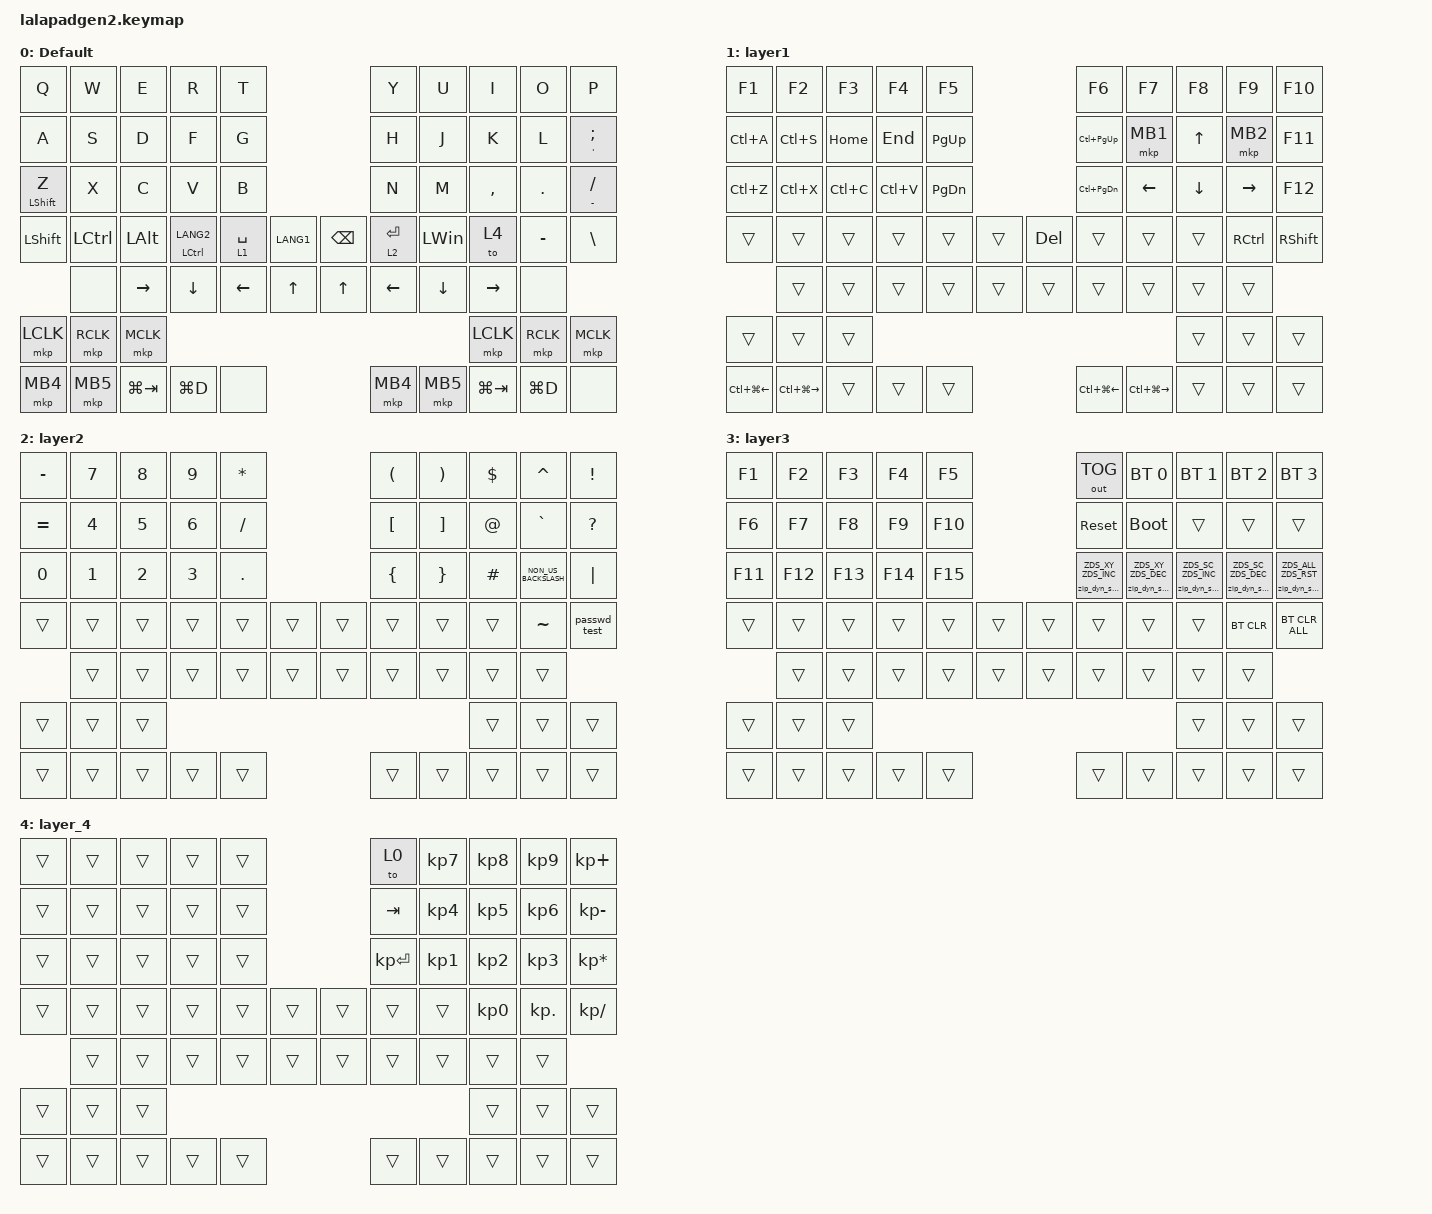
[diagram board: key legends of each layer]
#include <input/processors.dtsi>
#include <dt-bindings/zmk/zip_dynamic_scale.h>
#include <behaviors.dtsi>
#include <dt-bindings/zmk/bt.h>
#include <dt-bindings/zmk/keys.h>
#include <dt-bindings/zmk/outputs.h>
#include <dt-bindings/zmk/pointing.h>

#define DEFAULT_LAYER   0
#define SECONDARY_LAYER 1
#define TERTIARY_LAYER  2
#define SYSTEM_LAYER    3

&mt { quick-tap-ms = <200>; };

&lt { quick-tap-ms = <200>; };

/ {
    behaviors {
        zip_dyn_scale: zip_dyn_scale {
            compatible = "zmk,behavior-zip-dynamic-scale";
            #binding-cells = <2>;
        };

        zip_dyn_scale_set: zip_dyn_scale_set {
            compatible = "zmk,behavior-zip-dynamic-scale-set";
            #binding-cells = <2>;
        };

        mt2: mod_tap2 {
            compatible = "zmk,behavior-hold-tap";
            #binding-cells = <2>;
            flavor = "tap-preferred";
            tapping-term-ms = <200>;
            quick-tap-ms = <200>;
            require-prior-idle-ms = <125>;
            bindings = <&kp>, <&kp>;
        };

        tap_dance_layer_1and2: tap_dance_layer_1and2 {
            compatible = "zmk,behavior-tap-dance";
            label = "td_mo12";
            #binding-cells = <0>;
            bindings = <&mo 1>, <&mo 2>;
        };

        left_side: left_side {
            compatible = "zmk,behavior-tap-dance";
            label = "LEFT_SIDE";
            #binding-cells = <0>;
            bindings =
                <&kp LEFT_PARENTHESIS>,
                <&kp LEFT_BRACKET>,
                <&kp LEFT_BRACE>;
        };

        right_side: right_side {
            compatible = "zmk,behavior-tap-dance";
            label = "RIGHT_SIDE";
            #binding-cells = <0>;
            bindings =
                <&kp RIGHT_PARENTHESIS>,
                <&kp RIGHT_BRACKET>,
                <&kp RIGHT_BRACE>;
        };
    };

    combos {
        compatible = "zmk,combos";

        COMBO_ESC {
            bindings = <&kp ESCAPE>;
            key-positions = <0 1>;
        };

        COMBO_TAB {
            bindings = <&kp TAB>;
            key-positions = <10 11>;
        };

        COMBO_QUOTE {
            bindings = <&kp SQT>;
            key-positions = <18 19>;
        };

        COMBO_MINUS {
            bindings = <&kp MINUS>;
            key-positions = <28 29>;
        };

        COMBO_DEL {
            bindings = <&kp DELETE>;
            key-positions = <8 9>;
        };
    };

    macros {
        passwd_test: new_macro {
            compatible = "zmk,behavior-macro";
            #binding-cells = <0>;
            bindings = <&kp LS(A) &kp A &kp NUMBER_1 &kp NUMBER_1 &kp NUMBER_1 &kp NUMBER_1 &kp NUMBER_1 &kp NUMBER_1>;
            label = "NEW_MACRO";
        };
    };

    keymap {
        compatible = "zmk,keymap";

        DEFAULT_LAYER {
            display-name = "Default";
            bindings = <
&kp Q              &kp W      &kp E         &kp R            &kp T                                  &kp Y        &kp U         &kp I        &kp O       &kp P
&kp A              &kp S      &kp D         &kp F            &kp G                                  &kp H        &kp J         &kp K        &kp L       &mt2 SINGLE_QUOTE SEMICOLON
&mt2 LEFT_SHIFT Z  &kp X      &kp C         &kp V            &kp B                                  &kp N        &kp M         &kp COMMA    &kp PERIOD  &mt2 MINUS SLASH
&kp LEFT_SHIFT     &kp LCTRL  &kp LEFT_ALT  &mt LCTRL LANG2  &lt 1 SPACE  &kp LANG1  &kp BACKSPACE  &lt 2 ENTER  &kp LEFT_WIN  &to 4        &kp MINUS   &kp BACKSLASH
                   &none      &kp RIGHT     &kp DOWN         &kp LEFT     &kp UP     &kp UP         &kp LEFT     &kp DOWN      &kp RIGHT    &none
&mkp LCLK          &mkp RCLK  &mkp MCLK                                                                                        &mkp LCLK    &mkp RCLK   &mkp MCLK
&mkp MB4           &mkp MB5   &kp LG(TAB)   &kp LG(D)        &none                                  &mkp MB4     &mkp MB5      &kp LG(TAB)  &kp LG(D)   &none
            >;
        };

        LAYER1 {
            display-name = "layer1";
            bindings = <
&kp F1            &kp F2             &kp F3     &kp F4     &kp F5                          &kp F6             &kp F7             &kp F8          &kp F9           &kp F10
&kp LC(A)         &kp LC(S)          &kp HOME   &kp END    &kp PAGE_UP                     &kp LC(PAGE_UP)    &mkp MB1           &kp UP_ARROW    &mkp MB2         &kp F11
&kp LC(Z)         &kp LC(X)          &kp LC(C)  &kp LC(V)  &kp PAGE_DOWN                   &kp LC(PAGE_DOWN)  &kp LEFT_ARROW     &kp DOWN_ARROW  &kp RIGHT_ARROW  &kp F12
&trans            &trans             &trans     &trans     &trans         &trans  &kp DEL  &trans             &trans             &trans          &kp RCTRL        &kp RIGHT_SHIFT
                  &trans             &trans     &trans     &trans         &trans  &trans   &trans             &trans             &trans          &trans
&trans            &trans             &trans                                                                                      &trans          &trans           &trans
&kp LC(LG(LEFT))  &kp LC(LG(RIGHT))  &trans     &trans     &trans                          &kp LC(LG(LEFT))   &kp LC(LG(RIGHT))  &trans          &trans           &trans
            >;
        };

        LAYER2 {
            display-name = "layer2";
            bindings = <
&kp MINUS  &kp N7        &kp N8        &kp N9        &kp ASTERISK                  &kp LEFT_PARENTHESIS  &kp RIGHT_PARENTHESIS  &kp DOLLAR   &kp CARET             &kp EXCLAMATION
&kp EQUAL  &kp NUMBER_4  &kp N5        &kp NUMBER_6  &kp SLASH                     &kp LEFT_BRACKET      &kp RIGHT_BRACKET      &kp AT_SIGN  &kp GRAVE             &kp QUESTION
&kp N0     &kp NUMBER_1  &kp NUMBER_2  &kp NUMBER_3  &kp PERIOD                    &kp LEFT_BRACE        &kp RIGHT_BRACE        &kp HASH     &kp NON_US_BACKSLASH  &kp PIPE
&trans     &trans        &trans        &trans        &trans        &trans  &trans  &trans                &trans                 &trans       &kp TILDE             &passwd_test
           &trans        &trans        &trans        &trans        &trans  &trans  &trans                &trans                 &trans       &trans
&trans     &trans        &trans                                                                                                 &trans       &trans                &trans
&trans     &trans        &trans        &trans        &trans                        &trans                &trans                 &trans       &trans                &trans
            >;
        };

        layer3 {
            display-name = "layer3";
            bindings = <
&kp F1   &kp F2   &kp F3   &kp F4   &kp F5                   &out OUT_TOG                   &bt BT_SEL 0                   &bt BT_SEL 1                   &bt BT_SEL 2                   &bt BT_SEL 3
&kp F6   &kp F7   &kp F8   &kp F9   &kp F10                  &sys_reset                     &bootloader                    &trans                         &trans                         &trans
&kp F11  &kp F12  &kp F13  &kp F14  &kp F15                  &zip_dyn_scale ZDS_XY ZDS_INC  &zip_dyn_scale ZDS_XY ZDS_DEC  &zip_dyn_scale ZDS_SC ZDS_INC  &zip_dyn_scale ZDS_SC ZDS_DEC  &zip_dyn_scale ZDS_ALL ZDS_RST
&trans   &trans   &trans   &trans   &trans   &trans  &trans  &trans                         &trans                         &trans                         &bt BT_CLR                     &bt BT_CLR_ALL
         &trans   &trans   &trans   &trans   &trans  &trans  &trans                         &trans                         &trans                         &trans
&trans   &trans   &trans                                                                                                   &trans                         &trans                         &trans
&trans   &trans   &trans   &trans   &trans                   &trans                         &trans                         &trans                         &trans                         &trans
            >;
        };

        layer_4 {
            bindings = <
&trans  &trans  &trans  &trans  &trans                  &to 0         &kp KP_NUMBER_7  &kp KP_NUMBER_8  &kp KP_NUMBER_9  &kp KP_PLUS
&trans  &trans  &trans  &trans  &trans                  &kp TAB       &kp KP_NUMBER_4  &kp KP_NUMBER_5  &kp KP_NUMBER_6  &kp KP_MINUS
&trans  &trans  &trans  &trans  &trans                  &kp KP_ENTER  &kp KP_N1        &kp KP_NUMBER_2  &kp KP_NUMBER_3  &kp KP_ASTERISK
&trans  &trans  &trans  &trans  &trans  &trans  &trans  &trans        &trans           &kp KP_NUMBER_0  &kp KP_DOT       &kp KP_DIVIDE
        &trans  &trans  &trans  &trans  &trans  &trans  &trans        &trans           &trans           &trans
&trans  &trans  &trans                                                                 &trans           &trans           &trans
&trans  &trans  &trans  &trans  &trans                  &trans        &trans           &trans           &trans           &trans
            >;
        };
    };

    conditional_layers {
        compatible = "zmk,conditional-layers";

        Cond_Syslayer {
            if-layers = <1 2>;
            then-layer = <3>;
        };
    };
};
